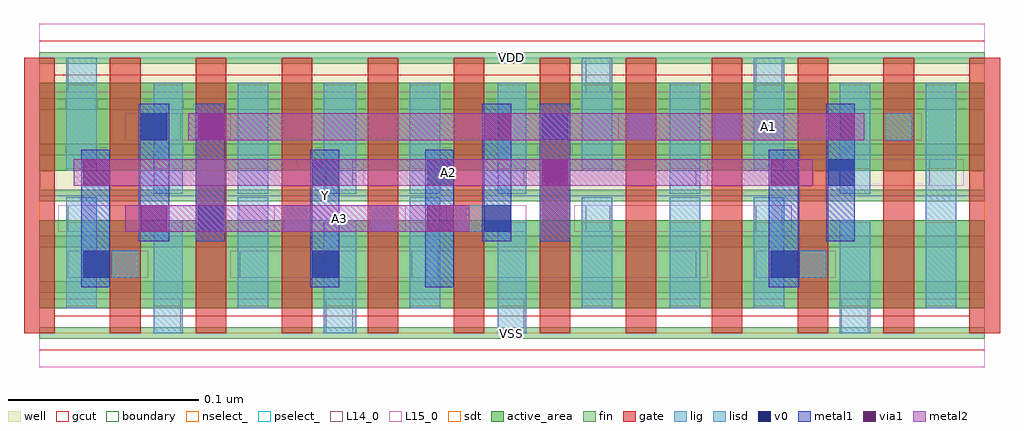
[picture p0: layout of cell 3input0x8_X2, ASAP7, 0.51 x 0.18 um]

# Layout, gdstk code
import gdstk
lib = gdstk.Library(unit=1e-6, precision=1e-09)
def R(c, l, rs):  # rectangles x0, y0, x1, y1
    for r in rs: c.add(gdstk.rectangle(r[:2], r[2:], *l))
def A(c, l, x, y, w, h, nx, ny, dx, dy):  # array of equal rectangles
    R(c, l, [(x+i*dx, y+j*dy, x+i*dx+w, y+j*dy+h) for i in range(nx) for j in range(ny)])
def P(c, l, *ps):  # polygons
    for p in ps: c.add(gdstk.Polygon(p, *l))
well = (1, 0)
fin = (2, 0)
gate = (7, 0)
gcut = (10, 0)
active_area = (11, 0)
nselect_ = (12, 0)
pselect_ = (13, 0)
L14_0 = (14, 0)
L15_0 = (15, 0)
lig = (16, 0)
lisd = (17, 0)
v0 = (18, 0)
metal1 = (19, 0)
metal2 = (20, 0)
via1 = (21, 0)
sdt = (88, 0)
boundary = (100, 0)

c_3input0x8_x2 = lib.new_cell('3input0x8_X2')
R(c_3input0x8_x2, well, [(0,0.072,0.495,0.144)])
A(c_3input0x8_x2, fin, 0, -0.003, 0.495, 0.006, 1, 7, 0, 0.024)
A(c_3input0x8_x2, gate, -0.008, 0, 0.016, 0.144, 12, 1, 0.045, 0)
P(c_3input0x8_x2, gcut, [(0,-0.009),(0,0),(-0.008,0),(-0.008,0.135),(0.008,0.135),(0.008,0.009),(0.487,0.009),(0.487,0.135),(-0.008,0.135),(-0.008,0.144),(0,0.144),(0,0.153),(0.495,0.153),(0.495,0.144),(0.503,0.144),(0.503,0),(0.495,0),(0.495,-0.009)])
R(c_3input0x8_x2, active_area, [(0,0.013,0.495,0.059), (0,0.085,0.495,0.131)])
R(c_3input0x8_x2, nselect_, [(0,0,0.495,0.072)])
R(c_3input0x8_x2, pselect_, [(0,0.072,0.495,0.144)])
A(c_3input0x8_x2, L14_0, 0.06, 0, 0.014, 0.018, 3, 1, 0.09, 0)
A(c_3input0x8_x2, L14_0, 0.083, 0.053, 0.014, 0.014, 4, 1, 0.045, 0)
A(c_3input0x8_x2, L14_0, 0.15, 0.077, 0.014, 0.014, 3, 1, 0.09, 0)
A(c_3input0x8_x2, L14_0, 0.263, 0.101, 0.014, 0.014, 3, 1, 0.045, 0)
R(c_3input0x8_x2, L14_0, [(0.42,0,0.434,0.018), (0.038,0.029,0.052,0.043), (0.105,0.029,0.12,0.043), (0.195,0.029,0.209,0.043), (0.33,0.029,0.344,0.043), (0.398,0.029,0.412,0.043), (0.015,0.053,0.03,0.067), (0.286,0.053,0.299,0.067), (0.375,0.053,0.389,0.067), (0.466,0.077,0.48,0.091), (0.06,0.101,0.074,0.115), (0.105,0.101,0.12,0.115), (0.195,0.101,0.209,0.115), (0.443,0.101,0.457,0.115), (0.015,0.126,0.03,0.144), (0.286,0.126,0.299,0.144), (0.375,0.126,0.389,0.144)])
R(c_3input0x8_x2, L15_0, [(0,-0.018,0.495,0.018), (0.015,0.029,0.057,0.043), (0.1,0.029,0.35,0.043), (0.375,0.029,0.417,0.043), (0.01,0.053,0.105,0.067), (0.123,0.053,0.192,0.067), (0.213,0.053,0.255,0.067), (0.28,0.053,0.394,0.067), (0.135,0.077,0.17,0.091), (0.195,0.077,0.35,0.091), (0.405,0.077,0.484,0.091), (0.045,0.101,0.079,0.115), (0.1,0.101,0.214,0.115), (0.247,0.101,0.285,0.115), (0.303,0.101,0.462,0.115), (0,0.126,0.495,0.162)])
A(c_3input0x8_x2, lig, 0.083, 0.053, 0.014, 0.014, 4, 1, 0.045, 0)
A(c_3input0x8_x2, lig, 0.263, 0.101, 0.014, 0.014, 3, 1, 0.045, 0)
R(c_3input0x8_x2, lig, [(0.038,0.029,0.052,0.043), (0.398,0.029,0.412,0.043), (0.443,0.101,0.457,0.115)])
A(c_3input0x8_x2, lisd, 0.014, 0.013, 0.016, 0.058, 4, 1, 0.09, 0)
R(c_3input0x8_x2, lisd, [(0.06,0,0.075,0.059), (0.149,0,0.166,0.059), (0.24,0,0.255,0.059), (0.419,0,0.435,0.059), (0.33,0.013,0.346,0.071), (0.374,0.013,0.39,0.071), (0.464,0.013,0.48,0.131), (0.06,0.073,0.075,0.131), (0.104,0.073,0.12,0.131), (0.149,0.073,0.166,0.131), (0.194,0.073,0.21,0.131), (0.24,0.073,0.255,0.131), (0.33,0.073,0.346,0.131), (0.419,0.073,0.435,0.131), (0.014,0.085,0.03,0.144), (0.284,0.085,0.3,0.144), (0.374,0.085,0.39,0.144)])
R(c_3input0x8_x2, v0, [(0.023,0.029,0.037,0.043), (0.143,0.029,0.157,0.043), (0.383,0.029,0.397,0.043), (0.083,0.053,0.097,0.067), (0.233,0.053,0.247,0.067), (0.143,0.077,0.157,0.091), (0.203,0.077,0.217,0.091), (0.413,0.077,0.427,0.091), (0.053,0.101,0.067,0.115), (0.263,0.101,0.277,0.115)])
R(c_3input0x8_x2, metal1, [(0.022,0.024,0.037,0.096), (0.142,0.024,0.157,0.096), (0.202,0.024,0.217,0.096), (0.382,0.024,0.398,0.096), (0.052,0.048,0.068,0.12), (0.082,0.048,0.097,0.12), (0.232,0.048,0.247,0.12), (0.262,0.048,0.278,0.12), (0.412,0.048,0.427,0.12)])
R(c_3input0x8_x2, metal2, [(0.045,0.053,0.225,0.067), (0.018,0.077,0.405,0.091), (0.078,0.101,0.432,0.115)])
R(c_3input0x8_x2, via1, [(0.053,0.053,0.067,0.067), (0.203,0.053,0.217,0.067), (0.023,0.077,0.037,0.091), (0.263,0.077,0.277,0.091), (0.383,0.077,0.397,0.091), (0.083,0.101,0.097,0.115), (0.233,0.101,0.247,0.115), (0.413,0.101,0.427,0.115)])
A(c_3input0x8_x2, sdt, 0.014, 0.014, 0.016, 0.044, 4, 2, 0.09, 0.072)
A(c_3input0x8_x2, sdt, 0.374, 0.014, 0.016, 0.044, 3, 2, 0.045, 0.072)
R(c_3input0x8_x2, sdt, [(0.06,0.014,0.075,0.058), (0.149,0.014,0.166,0.058), (0.24,0.014,0.255,0.058), (0.33,0.014,0.346,0.058), (0.06,0.086,0.075,0.13), (0.149,0.086,0.166,0.13), (0.24,0.086,0.255,0.13), (0.33,0.086,0.346,0.13)])
R(c_3input0x8_x2, boundary, [(0,0,0.495,0.144)])
c_3input0x8_x2.add(gdstk.Label('VSS', (0.247,0), layer=15, texttype=251))
c_3input0x8_x2.add(gdstk.Label('VDD', (0.247,0.144), layer=15, texttype=251))
c_3input0x8_x2.add(gdstk.Label('VSS', (0.247,0), layer=15, texttype=251))
c_3input0x8_x2.add(gdstk.Label('VDD', (0.247,0.144), layer=15, texttype=251))
c_3input0x8_x2.add(gdstk.Label('A3', (0.157,0.06), layer=15, texttype=251))
c_3input0x8_x2.add(gdstk.Label('VSS', (0.247,0), layer=15, texttype=251))
c_3input0x8_x2.add(gdstk.Label('VDD', (0.247,0.144), layer=15, texttype=251))
c_3input0x8_x2.add(gdstk.Label('A1', (0.382,0.108), layer=15, texttype=251))
c_3input0x8_x2.add(gdstk.Label('VSS', (0.247,0), layer=15, texttype=251))
c_3input0x8_x2.add(gdstk.Label('VDD', (0.247,0.144), layer=15, texttype=251))
c_3input0x8_x2.add(gdstk.Label('A2', (0.214,0.084), layer=20, texttype=251))
c_3input0x8_x2.add(gdstk.Label('VSS', (0.247,0), layer=3, texttype=251))
c_3input0x8_x2.add(gdstk.Label('VSS', (0.247,0), layer=3, texttype=251))
c_3input0x8_x2.add(gdstk.Label('VSS', (0.247,0), layer=3, texttype=251))
c_3input0x8_x2.add(gdstk.Label('VSS', (0.247,0), layer=3, texttype=251))
c_3input0x8_x2.add(gdstk.Label('VDD', (0.247,0.144), layer=1, texttype=251))
c_3input0x8_x2.add(gdstk.Label('VDD', (0.247,0.144), layer=1, texttype=251))
c_3input0x8_x2.add(gdstk.Label('VDD', (0.247,0.144), layer=1, texttype=251))
c_3input0x8_x2.add(gdstk.Label('VDD', (0.247,0.144), layer=1, texttype=251))
c_3input0x8_x2.add(gdstk.Label('Y', (0.15,0.072), layer=19, texttype=251))

lib.write_gds('3input0x8_X2.gds')
